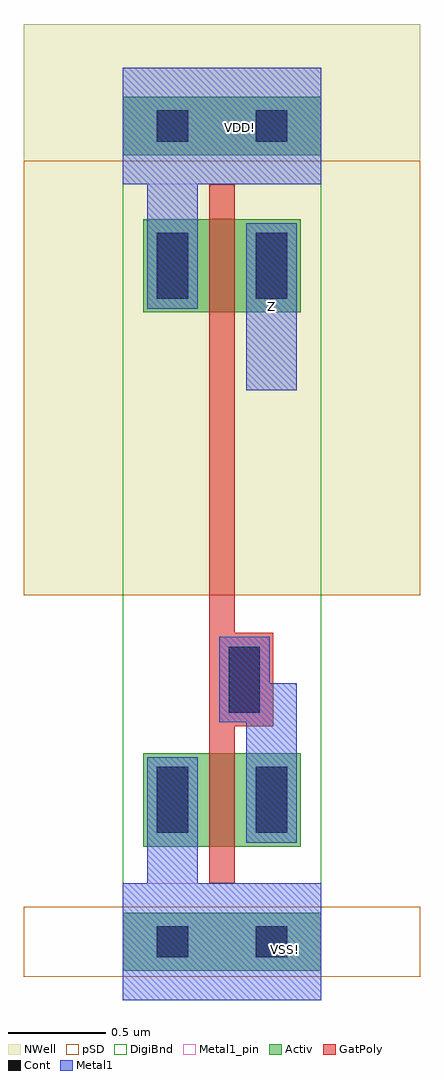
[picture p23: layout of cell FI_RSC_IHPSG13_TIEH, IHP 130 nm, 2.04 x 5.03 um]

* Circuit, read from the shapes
.subckt FI_RSC_IHPSG13_TIEH VDD! VSS! Z
XM1 n1 n1 VSS! VSS! sg13_lv_nmos w=0.48u l=0.13u
XM2 Z n1 VDD! VDD! sg13_lv_pmos w=0.48u l=0.13u
.ends

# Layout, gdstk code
import gdstk
lib = gdstk.Library(unit=1e-6, precision=1e-09)
def R(c, l, rs):  # rectangles x0, y0, x1, y1
    for r in rs: c.add(gdstk.rectangle(r[:2], r[2:], *l))
def P(c, l, *ps):  # polygons
    for p in ps: c.add(gdstk.Polygon(p, *l))
Activ = (1, 0)
GatPoly = (5, 0)
Cont = (6, 0)
Metal1 = (8, 0)
Metal1_pin = (8, 2)
pSD = (14, 0)
DigiBnd = (16, 0)
NWell = (31, 0)

fi_rsc_ihpsg13_tieh = lib.new_cell('FI_RSC_IHPSG13_TIEH')
R(fi_rsc_ihpsg13_tieh, Activ, [(0,-0.15,1.02,0.15), (0.105,0.49,0.915,0.97), (0.105,3.24,0.915,3.72), (0,4.05,1.02,4.35)])
P(fi_rsc_ihpsg13_tieh, GatPoly, [(0.445,0.3),(0.445,3.9),(0.575,3.9),(0.575,1.59),(0.775,1.59),(0.775,1.11),(0.575,1.11),(0.575,0.3)])
R(fi_rsc_ihpsg13_tieh, Cont, [(0.175,-0.08,0.335,0.08), (0.685,-0.08,0.845,0.08), (0.175,0.56,0.335,0.9), (0.685,0.56,0.845,0.9), (0.545,1.18,0.705,1.52), (0.175,3.31,0.335,3.65), (0.685,3.31,0.845,3.65), (0.175,4.12,0.335,4.28), (0.685,4.12,0.845,4.28)])
R(fi_rsc_ihpsg13_tieh, Metal1, [(0.635,2.84,0.895,3.7)])
P(fi_rsc_ihpsg13_tieh, Metal1, [(0.635,0.51),(0.635,1.13),(0.495,1.13),(0.495,1.57),(0.755,1.57),(0.755,1.33),(0.895,1.33),(0.895,0.51)],
  [(0.125,3.26),(0.125,3.9),(0,3.9),(0,4.5),(1.02,4.5),(1.02,3.9),(0.385,3.9),(0.385,3.26)],
  [(0,-0.3),(0,0.3),(0.125,0.3),(0.125,0.95),(0.385,0.95),(0.385,0.3),(1.02,0.3),(1.02,-0.3)])
R(fi_rsc_ihpsg13_tieh, Metal1_pin, [(0,-0.3,1.02,0.3), (0.635,2.84,0.895,3.7), (0,3.9,1.02,4.5)])
R(fi_rsc_ihpsg13_tieh, pSD, [(-0.51,-0.18,1.53,0.18), (-0.51,1.785,1.53,4.02)])
R(fi_rsc_ihpsg13_tieh, DigiBnd, [(0,-0.3,1.02,4.5)])
R(fi_rsc_ihpsg13_tieh, NWell, [(-0.51,1.785,1.53,4.725)])
fi_rsc_ihpsg13_tieh.add(gdstk.Label('VDD!', (0.605,4.19), layer=8, texttype=2))
fi_rsc_ihpsg13_tieh.add(gdstk.Label('VSS!', (0.835,-0.04), layer=8, texttype=2))
fi_rsc_ihpsg13_tieh.add(gdstk.Label('Z', (0.765,3.27), layer=8, texttype=2))

lib.write_gds('FI_RSC_IHPSG13_TIEH.gds')
